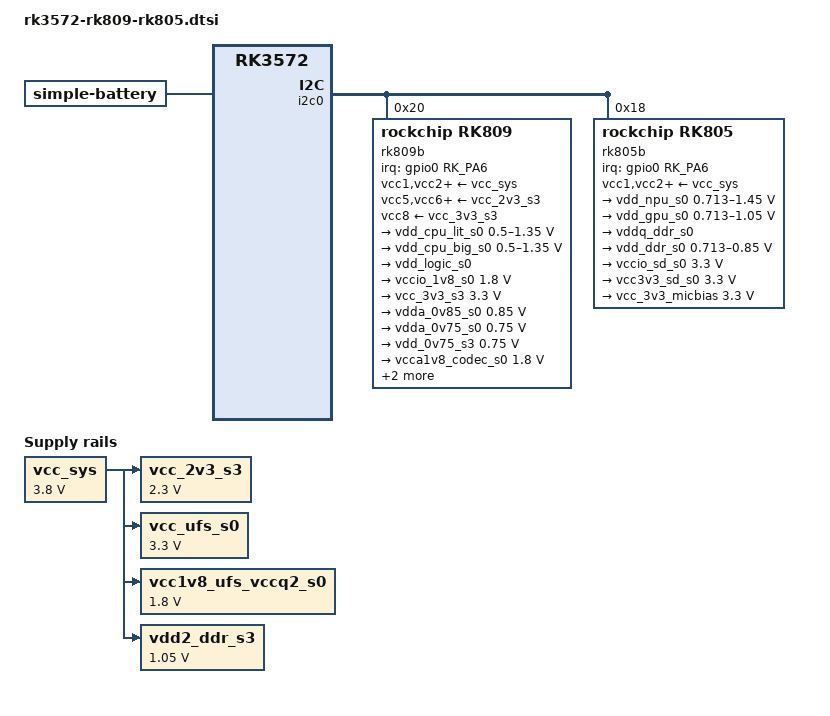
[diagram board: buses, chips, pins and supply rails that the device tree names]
// SPDX-License-Identifier: (GPL-2.0+ OR MIT)
/*
 * Copyright (c) 2025 Rockchip Electronics Co., Ltd.
 *
 */

#include <dt-bindings/gpio/gpio.h>
#include <dt-bindings/pinctrl/rockchip.h>

/ {
	bat: battery {
		compatible = "simple-battery";
		charge-full-design-microamp-hours = <8000000>;
		precharge-current-microamp = <180000>;
		precharge-upper-limit-microvolt = <3600000>;
		charge-term-current-microamp = <300000>;
		constant-charge-current-max-microamp = <10000000>;
		constant-charge-voltage-max-microvolt = <4400000>;
		factory-internal-resistance-micro-ohms = <80>;
		voltage-max-design-microvolt = <4400000>;
		voltage-min-design-microvolt = <3000000>;
	};

	charge-animation {
		compatible = "rockchip,uboot-charge";
		rockchip,uboot-charge-on = <0>;
		rockchip,android-charge-on = <0>;
		rockchip,uboot-low-power-voltage = <3450>;
		rockchip,screen-on-voltage = <3500>;
		rockchip,auto-wakeup-interval = <5>;
		rockchip,uboot-exit-charge-level = <2>;
		rockchip,uboot-exit-charge-voltage = <3500>;
		rockchip,uboot-exit-charge-auto = <1>;
	};

	charger-manager {
		compatible = "rockchip-charger-manager";
		cm-name = "battery";
		cm-poll-mode = <2>;
		cm-poll-interval = <1000>;

		cm-chargers = "sgm4154x-charger";
		cm-chargers-phandle = <&usbc0>;
		cm-fuel-gauge = "rk817-battery";
		monitored-battery = <&bat>;
		extcon = <&u2phy0>;
	};

	vcc_sys: vcc-sys {
		compatible = "regulator-fixed";
		regulator-name = "vcc_sys";
		regulator-always-on;
		regulator-boot-on;
		regulator-min-microvolt = <3800000>;
		regulator-max-microvolt = <3800000>;
	};

	vcc_2v3_s3: vcc-2v3-s3 {
		compatible = "regulator-fixed";
		regulator-name = "vcc_2v3_s3";
		regulator-always-on;
		regulator-boot-on;
		regulator-min-microvolt = <2300000>;
		regulator-max-microvolt = <2300000>;
		vin-supply = <&vcc_sys>;
	};

	vcc_ufs_s0: vcc-ufs-s0 {
		compatible = "regulator-fixed";
		regulator-name = "vcc_ufs_s0";
		regulator-always-on;
		regulator-boot-on;
		regulator-min-microvolt = <3300000>;
		regulator-max-microvolt = <3300000>;
		vin-supply = <&vcc_sys>;
	};

	vcc1v8_ufs_vccq2_s0: vcc1v8-ufs-vccq2-s0 {
		compatible = "regulator-fixed";
		regulator-name = "vcc1v8_ufs_vccq2_s0";
		regulator-always-on;
		regulator-boot-on;
		regulator-min-microvolt = <1800000>;
		regulator-max-microvolt = <1800000>;
		vin-supply = <&vcc_sys>;
	};

	vdd2_ddr_s3: vdd2-ddr-s3 {
		compatible = "regulator-fixed";
		regulator-name = "vdd2_ddr_s3";
		regulator-always-on;
		regulator-boot-on;
		regulator-min-microvolt = <1050000>;
		regulator-max-microvolt = <1050000>;
		vin-supply = <&vcc_sys>;
	};
};

&i2c0 {
	status = "okay";

	rk809b: rk809b@20 {
		compatible = "rockchip,rk809";
		reg = <0x20>;
		interrupt-parent = <&gpio0>;
		interrupts = <RK_PA6 IRQ_TYPE_LEVEL_LOW>;
		rockchip,system-power-controller;
		rockchip,shutdown-priority = <0>;
		/* 1: rst regs (default in codes), 0: rst the pmic */
		pmic-reset-func = <0>;

		vcc1-supply = <&vcc_sys>;
		vcc2-supply = <&vcc_sys>;
		vcc3-supply = <&vcc_sys>;
		vcc4-supply = <&vcc_sys>;
		vcc5-supply = <&vcc_2v3_s3>;
		vcc6-supply = <&vcc_2v3_s3>;
		vcc7-supply = <&vcc_2v3_s3>;
		vcc8-supply = <&vcc_3v3_s3>;
		vcc9-supply = <&vcc_sys>;

		wakeup-source;

		rtc {
			status = "okay";
		};

		pwrkey {
			status = "okay";
		};

		regulators {
			vdd_cpu_lit_s0: DCDC_REG1 {
				regulator-name = "vdd_cpu_lit_s0";
				regulator-always-on;
				regulator-boot-on;
				regulator-min-microvolt = <500000>;
				regulator-max-microvolt = <1350000>;
				regulator-ramp-delay = <6001>;
				regulator-initial-mode = <0x2>;

				regulator-state-mem {
					regulator-off-in-suspend;
				};
			};

			vdd_cpu_big_s0: DCDC_REG2 {
				regulator-name = "vdd_cpu_big_s0";
				regulator-always-on;
				regulator-boot-on;
				regulator-min-microvolt = <500000>;
				regulator-max-microvolt = <1350000>;
				regulator-ramp-delay = <6001>;
				regulator-initial-mode = <0x2>;

				regulator-state-mem {
					regulator-off-in-suspend;
				};
			};

			vdd_logic_s0: DCDC_REG3 {
				regulator-name = "vcc_logic_s0";
				regulator-always-on;
				regulator-boot-on;
				regulator-initial-mode = <0x2>;
				regulator-state-mem {
					regulator-off-in-suspend;
				};
			};

			vccio_1v8_s0: DCDC_REG4 {
				regulator-name = "vccio_1v8_s0";
				regulator-always-on;
				regulator-boot-on;
				regulator-min-microvolt = <1800000>;
				regulator-max-microvolt = <1800000>;
				regulator-ramp-delay = <6001>;
				regulator-initial-mode = <0x2>;

				regulator-state-mem {
					regulator-off-in-suspend;
				};
			};

			vcc_3v3_s3: DCDC_REG5 {
				regulator-name = "vcc_3v3_s3";
				regulator-always-on;
				regulator-boot-on;
				regulator-min-microvolt = <3300000>;
				regulator-max-microvolt = <3300000>;

				regulator-state-mem {
					regulator-on-in-suspend;
					regulator-suspend-microvolt = <3300000>;
				};
			};

			vdda_0v85_s0: LDO_REG1 {
				regulator-name = "vdda_0v85_s0";
				regulator-boot-on;
				regulator-always-on;
				regulator-min-microvolt = <850000>;
				regulator-max-microvolt = <850000>;

				regulator-state-mem {
					regulator-off-in-suspend;
				};
			};

			vdda_0v75_s0: LDO_REG2 {
				regulator-name = "vdda_0v75_s0";
				regulator-always-on;
				regulator-boot-on;
				regulator-min-microvolt = <750000>;
				regulator-max-microvolt = <750000>;

				regulator-state-mem {
					regulator-off-in-suspend;
				};
			};

			vdd_0v75_s3: LDO_REG3 {
				regulator-name = "vdd_0v75_s3";
				regulator-always-on;
				regulator-boot-on;
				regulator-min-microvolt = <750000>;
				regulator-max-microvolt = <750000>;

				regulator-state-mem {
					regulator-on-in-suspend;
					regulator-suspend-microvolt = <750000>;
				};
			};

			vcca1v8_codec_s0: LDO_REG4 {
				regulator-name = "vcca1v8_codec_s0";
				regulator-always-on;
				regulator-boot-on;
				regulator-min-microvolt = <1800000>;
				regulator-max-microvolt = <1800000>;

				regulator-state-mem {
					regulator-off-in-suspend;
				};
			};

			vcca_1v8_s0: LDO_REG5 {
				regulator-name = "vcca_1v8_s0";
				regulator-always-on;
				regulator-boot-on;
				regulator-min-microvolt = <1800000>;
				regulator-max-microvolt = <1800000>;

				regulator-state-mem {
					regulator-off-in-suspend;
				};
			};

			vcc_1v8_s3: LDO_REG6 {
				regulator-name = "vcc_1v8_s3";
				regulator-always-on;
				regulator-boot-on;
				regulator-min-microvolt = <1800000>;
				regulator-max-microvolt = <1800000>;

				regulator-state-mem {
					regulator-on-in-suspend;
					regulator-suspend-microvolt = <1800000>;
				};
			};


			vcca_1v2_s0: LDO_REG9 {
				regulator-name = "vcca_1v2_s0";
				regulator-always-on;
				regulator-boot-on;
				regulator-min-microvolt = <1200000>;
				regulator-max-microvolt = <1200000>;

				regulator-state-mem {
					regulator-off-in-suspend;
				};
			};

			vcc_swout1: SWITCH_REG1 {
				regulator-name = "vcc_swout1";

				regulator-state-mem {
					regulator-off-in-suspend;
				};
			};

			vcc_3v3_s0: SWITCH_REG2 {
				regulator-name = "vcc_3v3_s0";
				regulator-always-on;
				regulator-boot-on;

				regulator-state-mem {
					regulator-off-in-suspend;
				};
			};
		};

		rk817_battery: rk817-battery {
			compatible = "rk817,battery";
			ocv_table = <3400 3679 3692 3720 3746 3765 3783 3798 3817 3839 3867
					3906 3961 3996 4063 4107 4161 4216 4274 4333 4379>;
			design_capacity = <7200>;
			design_qmax = <7500>;
			bat_res = <83>;
			sleep_enter_current = <150>;
			sleep_exit_current = <180>;
			sleep_filter_current = <100>;
			power_off_thresd = <3400>;
			max_soc_offset = <60>;
			monitor_sec = <5>;
			sample_res = <10>;
			virtual_power = <0>;
			bat_res_up = <91>;
			bat_res_down = <30>;
			fake_full_soc = <95>;
			nominal_voltage = <3850>;
		};

		rk809_codec: codec {
			#sound-dai-cells = <1>;
			compatible = "rockchip,rk809-codec", "rockchip,rk817-codec";
			clocks = <&mclkout_sai1>;
			clock-names = "mclk";
			assigned-clocks = <&mclkout_sai1>;
			assigned-clock-rates = <12288000>;
			pinctrl-names = "default";
			pinctrl-0 = <&sai1m0_mclk_pins>;
			hp-volume = <20>;
			spk-volume = <25>;
			use-ext-amplifier;
			spk-ctl-gpios = <&gpio2 RK_PB7 GPIO_ACTIVE_HIGH>;
			mic-swap-non-differential;
			status = "okay";
		};
	};

	rk805b: rk805b@18 {
		compatible = "rockchip,rk805";
		reg = <0x18>;

		interrupt-parent = <&gpio0>;
		interrupts = <RK_PA6 IRQ_TYPE_LEVEL_LOW>;

		#clock-cells = <1>;
		clock-output-names = "rk805-clkout1", "rk805-clkout2";

		rockchip,system-power-controller;
		wakeup-source;
		rockchip,shutdown-priority = <0>;
		/* 1: rst regs (default in codes), 0: rst the pmic */
		pmic-reset-func = <0>;
		/* 0: active low, 1:active high */
		sleep-pin-polarity = <1>;
		status = "okay";

		vcc1-supply = <&vcc_sys>;
		vcc2-supply = <&vcc_sys>;
		vcc3-supply = <&vcc_sys>;
		vcc4-supply = <&vcc_sys>;
		vcc5-supply = <&vcc_sys>;
		vcc6-supply = <&vcc_sys>;

		rtc {
			status = "disabled";
		};

		pwrkey {
			status = "disabled";
		};

		regulators {
			vdd_npu_s0: DCDC_REG1 {
				regulator-name = "vdd_npu_s0";
				regulator-min-microvolt = <712500>;
				regulator-max-microvolt = <1450000>;
				regulator-always-on;
				regulator-boot-on;
				regulator-state-mem {
					regulator-off-in-suspend;
				};
			};

			vdd_gpu_s0: DCDC_REG2 {
				regulator-name = "vdd_gpu_s0";
				regulator-min-microvolt = <712500>;
				regulator-max-microvolt = <1050000>;
				regulator-always-on;
				regulator-boot-on;
				regulator-state-mem {
					regulator-off-in-suspend;
				};
			};

			vddq_ddr_s0: DCDC_REG3 {
				regulator-name = "vddq_ddr_s0";
				regulator-always-on;
				regulator-boot-on;
				regulator-state-mem {
					regulator-on-in-suspend;
				};
			};

			vdd_ddr_s0: DCDC_REG4 {
				regulator-name = "vdd_ddr_s0";
				regulator-min-microvolt = <712500>;
				regulator-max-microvolt = <850000>;
				regulator-always-on;
				regulator-boot-on;
				regulator-state-mem {
					regulator-off-in-suspend;
				};
			};

			vccio_sd_s0: LDO_REG1 {
				regulator-name = "vccio_sd_s0";
				regulator-min-microvolt = <3300000>;
				regulator-max-microvolt = <3300000>;
				regulator-always-on;
				regulator-boot-on;
				regulator-state-mem {
					regulator-off-in-suspend;
				};
			};

			vcc3v3_sd_s0: LDO_REG2 {
				regulator-name = "vcc3v3_sd_s0";
				regulator-min-microvolt = <3300000>;
				regulator-max-microvolt = <3300000>;
				regulator-always-on;
				regulator-boot-on;
				regulator-state-mem {
					regulator-off-in-suspend;
				};
			};

			vcc_3v3_micbias: LDO_REG3 {
				regulator-name = "vcc_3v3_micbias";
				regulator-min-microvolt = <3300000>;
				regulator-max-microvolt = <3300000>;
				regulator-always-on;
				regulator-boot-on;
				regulator-state-mem {
					regulator-off-in-suspend;
				};
			};
		};
	};
};
